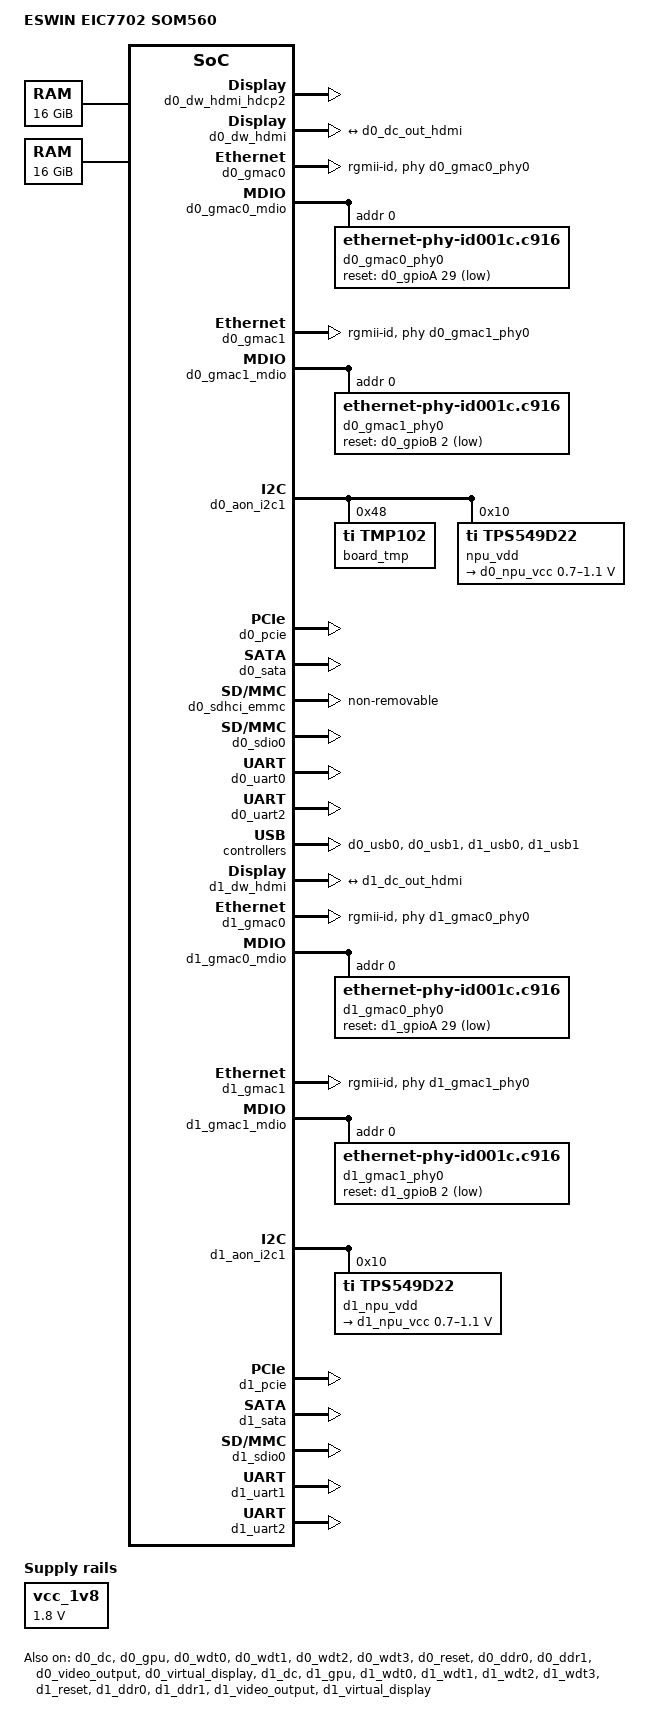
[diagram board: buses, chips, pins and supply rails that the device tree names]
// SPDX-License-Identifier: GPL-2.0
/*
 * Device Tree file for Eswin EIC7702 SoC.
 *
 * Copyright 2026, Beijing ESWIN Computing Technology Co., Ltd.. All rights reserved.
 * SPDX-License-Identifier: GPL-2.0
 *
 * This program is free software: you can redistribute it and/or modify
 * it under the terms of the GNU General Public License as published by
 * the Free Software Foundation, version 2.
 *
 * This program is distributed in the hope that it will be useful,
 * but WITHOUT ANY WARRANTY; without even the implied warranty of
 * MERCHANTABILITY or FITNESS FOR A PARTICULAR PURPOSE.  See the
 * GNU General Public License for more details.
 *
 * You should have received a copy of the GNU General Public License
 * along with this program.  If not, see <https://www.gnu.org/licenses/>.
 */

/dts-v1/;

#include "eic7702-die0.dtsi"
#include "eic7702-die1.dtsi"
#include <dt-bindings/interrupt-controller/irq.h>
#include <dt-bindings/gpio/gpio.h>
#include <dt-bindings/input/input.h>

#define RTCCLK_FREQ		1000000
#define LSPCLK_FREQ		200000000

/* If wanna enable ECC capability of DDR, should reserve highest zone of 1/8 all space for it */
#define MEMORY_SIZE_H		0x4
#define MEMORY_SIZE_L		0x0
#define CMA_SIZE		0x20000000

/ {
	model = "ESWIN EIC7702 SOM560";
	compatible = "eswin,eic7x";

	aliases {
		serial0 = &d0_uart0;
		ethernet0 = &d0_gmac0;
		ethernet1 = &d0_gmac1;
		ethernet2 = &d1_gmac0;
		ethernet3 = &d1_gmac1;
		mmc0 = &d0_sdhci_emmc;
	};

	chosen {
		stdout-path = "serial0:115200n8";
		bootargs = "console=ttyS0,115200 earlycon ";
	};

	cpus {
		timebase-frequency = <RTCCLK_FREQ>;
	};

	memory@80000000 {
		device_type = "memory";
		reg = <0x0 0x80000000 MEMORY_SIZE_H MEMORY_SIZE_L>;
		numa-node-id = <0>;
	};

	memory@2000000000 {
		device_type = "memory";
		reg = <0x20 0x00000000 MEMORY_SIZE_H MEMORY_SIZE_L>;
		numa-node-id = <1>;
	};

	distance-map {
		compatible = "numa-distance-map-v1";
		distance-matrix = <0 0 10>,
				<0 1 100>,
				<1 0 100>,
				<1 1 10>;
	};

	reserved-memory {
		#address-cells = <2>;
		#size-cells = <2>;
		ranges;
		linux,cma {
			compatible = "shared-dma-pool";
			reusable;
			size = <0x0 CMA_SIZE>;
			alignment = <0x0 0x1000>;
			alloc-ranges = <0x0 0x80000000 MEMORY_SIZE_H MEMORY_SIZE_L>;
			linux,cma-default;
		};

		nid_1_zero_device_simu: nid_1_zero_device_simu@2040000000 {
			no-map;
			reg = <0x20 0x40000000 0x0 0x400000>;
		};
	};

	vcc_1v8: regulator-1v8 {
		compatible = "regulator-fixed";
		regulator-name = "1v8";
		regulator-always-on;
		regulator-boot-on;
		regulator-min-microvolt = <1800000>;
		regulator-max-microvolt = <1800000>;
	};
};

/* Register module nodes of Die0 */
&d0_dw_hdmi_hdcp2 {
	status = "okay";
};

&d0_dw_hdmi {
	status = "okay";
	ports {
		#address-cells = <1>;
		#size-cells = <0>;
		port@0 {
			reg = <0>;
			d0_hdmi_in_dc: endpoint@0 {
				remote-endpoint = <&d0_dc_out_hdmi>;
			};
		};
		/*
		port@2 {
			reg = <2>;
			d0_hdmi_in_i2s: endpoint@1 {
				system-clock-frequency = <12288000>;
				remote-endpoint = <&d0_i2s0_endpoint>;
			};
		};
		*/
	};
};

&d0_dc {
	status = "okay";
	d0_dc_out: port {
		#address-cells = <1>;
		#size-cells = <0>;
		d0_dc_out_dpi1: endpoint@1 {
			reg = <1>;
			remote-endpoint = <&d0_vd_input>;
		};
		d0_dc_out_hdmi: endpoint@2 {
			reg = <2>;
			remote-endpoint = <&d0_hdmi_in_dc>;
		};
	};
};

&d0_dc_test {
	status = "disabled";
};

&d0_aon_i2c0 {
	/* unused */
	status = "disabled";
};

&d0_gmac0 {
	phy-handle = <&d0_gmac0_phy0>;
	phy-mode = "rgmii-id";
	pinctrl-names = "default";
	pinctrl-0 = <&d0_gpio29_pins>;
	rx-internal-delay-ps = <20>;
	tx-internal-delay-ps = <20>;
	status = "okay";
};

&d0_gmac0_mdio {
	d0_gmac0_phy0: ethernet-phy@0 {
		compatible = "ethernet-phy-id001c.c916";
		reg = <0>;
		reset-gpios = <&d0_gpioA 29 GPIO_ACTIVE_LOW>;
		reset-assert-us = <10000>;
		reset-deassert-us = <80000>;
	};
};

&d0_gmac1 {
	phy-handle = <&d0_gmac1_phy0>;
	phy-mode = "rgmii-id";
	pinctrl-names = "default";
	pinctrl-0 = <&d0_gpio34_pins>;
	rx-internal-delay-ps = <200>;
	tx-internal-delay-ps = <2100>;
	status = "okay";
};

&d0_gmac1_mdio {
	d0_gmac1_phy0: ethernet-phy@0 {
		compatible = "ethernet-phy-id001c.c916";
		reg = <0>;
		reset-gpios = <&d0_gpioB 2 GPIO_ACTIVE_LOW>;
		reset-assert-us = <10000>;
		reset-deassert-us = <80000>;
	};
};

&d0_aon_i2c1 {
	/* d2d vp pmic(5p49v6965) & temp sensor(tmp102) & d0 npu pmic(tps549d22) */
	status = "okay";
	tmp102@48 {
		compatible = "ti,tmp102";
		reg = <0x48>;
		label = "board_tmp";
		#thermal-sensor-cells = <1>;
	};

	tps549d22@10 {
		compatible = "ti,tps549d22";
		reg = <0x10>;
		eswin,regulator_default-microvolt=<1000000>;
		eswin,regulator_label = "Supply VDD", "D0 NPU Voltage";
		label = "npu_vdd";
		regulators{
			d0_npu_vcc:npu_svcc{
				regulator-name="D0_NPU_SVCC";
				regulator-min-microvolt=<700000>;
				regulator-max-microvolt=<1100000>;
				regulator-min-microamp=<20000000>;
				regulator-max-microamp=<40000000>;
				regulator-ov-protection-microvolt=<1100000>;
			};
		};
	};
};

&d0_pcie {
	status = "okay";
};

&d0_gpu {
	status = "okay";
};

&d0_gpio {
	status = "okay";
};

&d0_pinctrl {
	status = "okay";
	vrgmii-supply = <&vcc_1v8>;
};

&d0_sata {
	status = "okay";
};

&d0_sdhci_emmc {
	eswin,drive-impedance-ohms = <33>;
	mmc-hs400-1_8v;
	no-sd;
	no-sdio;
	non-removable;
	status = "okay";
};

&d0_sdio0 {
	status = "okay";
};

&d0_sdio1 {
	status = "disabled";
};

&d0_uart0 {
	/* debug */
	status = "okay";
};

&d0_uart1 {
	/* unused */
	status = "disabled";
};

&d0_uart2 {
	status = "okay";
};

&d0_uart3 {
	/* unused */
	status = "disabled";
};

&d0_uart4 {
	/* unused */
	status = "disabled";
};

&d0_usb0 {
	wakeup-source;
	snps,dis_enblslpm_quirk;
	snps,dis-u2-freeclk-exists-quirk;
	snps,dis_u2_susphy_quirk;
	snps,dis-del-phy-power-chg-quirk;
	snps,parkmode-disable-ss-quirk;
	status = "okay";
};

&d0_usb1 {
	wakeup-source;
	snps,dis_enblslpm_quirk;
	snps,dis-u2-freeclk-exists-quirk;
	snps,dis_u2_susphy_quirk;
	snps,dis-del-phy-power-chg-quirk;
	snps,parkmode-disable-ss-quirk;
	status = "okay";
};

&d0_wdt0 {
	status = "okay";
};

&d0_wdt1 {
	status = "okay";
};

&d0_wdt2 {
	status = "okay";
};

&d0_wdt3 {
	status = "okay";
};

&d0_reset {
	status = "okay";
};

&d0_d2d {
	status = "disabled";
};

&d0_ddr0 {
	status = "okay";
};

&d0_ddr1 {
	status = "okay";
};

&d0_video_output {
	status = "okay";
};

&d0_virtual_display {
	status = "okay";
	port {
		d0_vd_input: endpoint {
			remote-endpoint = <&d0_dc_out_dpi1>;
		};
	};
};

/* Register module nodes of Die1 */
&d1_dw_hdmi_hdcp2 {
	status = "disabled";
};

&d1_dw_hdmi {
	status = "okay";
	ports {
		#address-cells = <1>;
		#size-cells = <0>;
		port@0 {
			reg = <0>;
			d1_hdmi_in_dc: endpoint@0 {
				remote-endpoint = <&d1_dc_out_hdmi>;
			};
		};
		/*
		port@2 {
			reg = <2>;
			d1_hdmi_in_i2s: endpoint@1 {
				system-clock-frequency = <12288000>;
				remote-endpoint = <&d1_i2s0_endpoint>;
			};
		};
		*/
	};
};

&d1_dc {
	status = "okay";
	d1_dc_out: port {
		#address-cells = <1>;
		#size-cells = <0>;
		d1_dc_out_dpi1: endpoint@1 {
			reg = <1>;
			remote-endpoint = <&d1_vd_input>;
		};
		d1_dc_out_hdmi: endpoint@2 {
			reg = <2>;
			remote-endpoint = <&d1_hdmi_in_dc>;
		};
	};
};

&d1_dc_test {
	status = "disabled";
};

&d1_aon_i2c0 {
	/* unused */
	status = "disabled";
};

&d1_gmac0 {
	phy-handle = <&d1_gmac0_phy0>;
	phy-mode = "rgmii-id";
	pinctrl-names = "default";
	pinctrl-0 = <&d1_gpio29_pins>;
	rx-internal-delay-ps = <20>;
	tx-internal-delay-ps = <20>;
	status = "okay";
};

&d1_gmac0_mdio {
	d1_gmac0_phy0: ethernet-phy@0 {
		compatible = "ethernet-phy-id001c.c916";
		reg = <0>;
		reset-gpios = <&d1_gpioA 29 GPIO_ACTIVE_LOW>;
		reset-assert-us = <10000>;
		reset-deassert-us = <80000>;
	};
};

&d1_gmac1 {
	phy-handle = <&d1_gmac1_phy0>;
	phy-mode = "rgmii-id";
	pinctrl-names = "default";
	pinctrl-0 = <&d1_gpio34_pins>;
	rx-internal-delay-ps = <200>;
	tx-internal-delay-ps = <2100>;
	status = "okay";
};

&d1_gmac1_mdio {
	d1_gmac1_phy0: ethernet-phy@0 {
		compatible = "ethernet-phy-id001c.c916";
		reg = <0>;
		reset-gpios = <&d1_gpioB 2 GPIO_ACTIVE_LOW>;
		reset-assert-us = <10000>;
		reset-deassert-us = <80000>;
	};
};

&d1_aon_i2c1 {
	/* d1 npu pmic */
	status = "okay";
	tps549d22@10 {
		compatible = "ti,tps549d22";
		reg = <0x10>;
		eswin,regulator_default-microvolt=<1000000>;
		eswin,regulator_label = "Supply VDD1", "D1 NPU Voltage";
		label = "d1_npu_vdd";
		regulators{
			d1_npu_vcc:npu_svcc{
				regulator-name="D1_NPU_SVCC";
				regulator-min-microvolt=<700000>;
				regulator-max-microvolt=<1100000>;
				regulator-min-microamp=<20000000>;
				regulator-max-microamp=<40000000>;
				regulator-ov-protection-microvolt=<1100000>;
			};
		};
	};
};

&d1_pcie {
	status = "okay";
};

&d1_gpu {
	status = "okay";
};

&d1_gpio {
	status = "okay";
};

&d1_pinctrl {
	status = "okay";
	vrgmii-supply = <&vcc_1v8>;
};

&d1_sata {
	status = "okay";
};

&d1_sdhci_emmc {
	status = "disabled";
};

&d1_sdio0 {
	status = "okay";
};

&d1_sdio1 {
	status = "disabled";
};

&d1_uart0 {
	status = "disabled";
};

&d1_uart1 {
	status = "okay";
};

&d1_uart2 {
	status = "okay";
};

&d1_uart3 {
	/* unused */
	status = "disabled";
};

&d1_uart4 {
	/* unused */
	status = "disabled";
};

&d1_usb0 {
	wakeup-source;
	snps,dis_enblslpm_quirk;
	snps,dis-u2-freeclk-exists-quirk;
	snps,dis_u2_susphy_quirk;
	snps,dis-del-phy-power-chg-quirk;
	snps,parkmode-disable-ss-quirk;
	status = "okay";
};

&d1_usb1 {
	wakeup-source;
	snps,dis_enblslpm_quirk;
	snps,dis-u2-freeclk-exists-quirk;
	snps,dis_u2_susphy_quirk;
	snps,dis-del-phy-power-chg-quirk;
	snps,parkmode-disable-ss-quirk;
	status = "okay";
};

&d1_wdt0 {
	status = "okay";
};

&d1_wdt1 {
	status = "okay";
};

&d1_wdt2 {
	status = "okay";
};

&d1_wdt3 {
	status = "okay";
};

&d1_reset {
	status = "okay";
};

&d1_d2d {
	status = "disabled";
};

&d1_ddr0 {
	status = "okay";
};

&d1_ddr1 {
	status = "okay";
};

&d1_video_output {
	status = "okay";
};

&d1_virtual_display {
	status = "okay";
	port {
		d1_vd_input: endpoint {
			remote-endpoint = <&d1_dc_out_dpi1>;
		};
	};
};

/* Non-register module nodes of Die1 */

&d1_ccache {
	status = "okay";
	d1_zero_device: zero-device@3a000000 {
		compatible = "l3,zero-device";
		/*reg = <0x0 0x3a000000 0x0 0x400000>;*/
		memory-region = <&nid_1_zero_device_simu>;
	};
};
